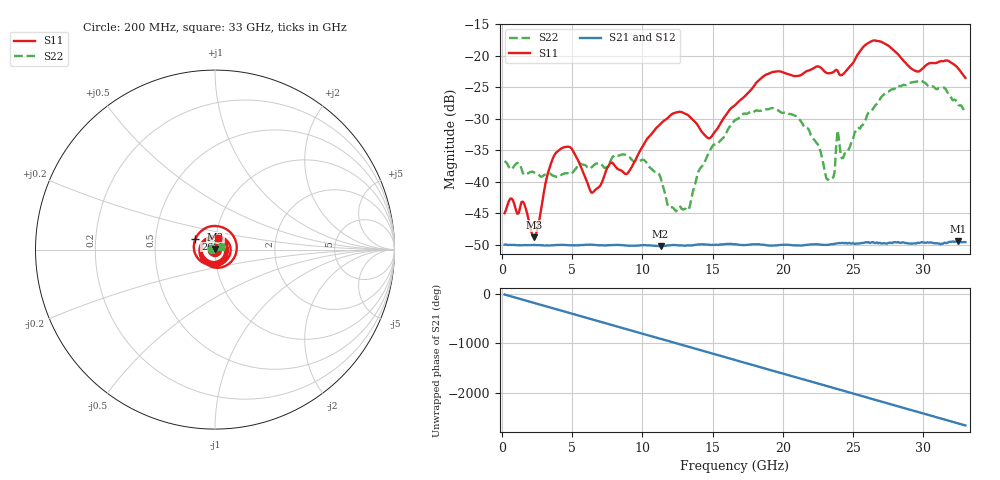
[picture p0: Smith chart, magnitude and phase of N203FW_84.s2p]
# GHZ S RI R 50
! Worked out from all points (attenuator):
!   329 points, 200 MHz to 33 GHz, reference 50 ohm
!   highest |S21| = -49.45 dB at 32.5 GHz (marker M1); lowest = -50.2 dB at 11.3 GHz (marker M2)
!   lowest |S11| = -48.8 dB at 2.3 GHz (marker M3), VSWR 1.01, Z = 50.1 + j0.343 ohm
!   |S11| at or under -10 dB: start of sweep to end of sweep
!   |S22| runs from -44.7 to -23.9 dB; largest |S21 - S12| = 8.7e-05
!   S11 on the Smith chart (normalised r, x): 200 MHz: 1.01, -0.00; 26 GHz: 0.80, +0.10; 33 GHz: 1.02, +0.13
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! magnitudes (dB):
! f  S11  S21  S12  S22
! 200 MHz  -45.0  -50.0  -49.9  -36.7
! 1.5 GHz  -43.1  -50.0  -50.0  -38.6
! 2.3 GHz  -48.8  -50.0  -50.0  -38.5
! 3.8 GHz  -35.5  -50.0  -50.0  -39.1
! 5.7 GHz  -38.0  -50.0  -50.0  -37.2
! 6.4 GHz  -41.7  -50.0  -50.0  -37.7
! 8.9 GHz  -38.7  -50.1  -50.1  -35.8
! 11.2 GHz  -31.1  -50.2  -50.2  -38.8
! 11.3 GHz  -30.8  -50.2  -50.2  -39.3
! 11.9 GHz  -29.7  -50.1  -50.0  -44.0
! 13.3 GHz  -29.5  -50.1  -50.1  -44.4
! 14.8 GHz  -33.1  -50.0  -50.0  -35.1
! 16.6 GHz  -27.8  -49.9  -49.9  -30.2
! 19.3 GHz  -22.6  -50.1  -50.1  -28.3
! 22.1 GHz  -22.1  -49.9  -49.9  -32.9
! 23.5 GHz  -22.7  -49.9  -49.8  -39.4
! 23.9 GHz  -22.4  -49.8  -49.8  -31.9
! 24.3 GHz  -22.9  -49.7  -49.6  -36.2
! 26 GHz  -18.1  -49.6  -49.6  -29.4
! 27.6 GHz  -18.5  -49.7  -49.7  -25.6
! 32.5 GHz  -22.0  -49.4  -49.4  -27.8
! 33 GHz  -23.5  -49.6  -49.6  -29.0
